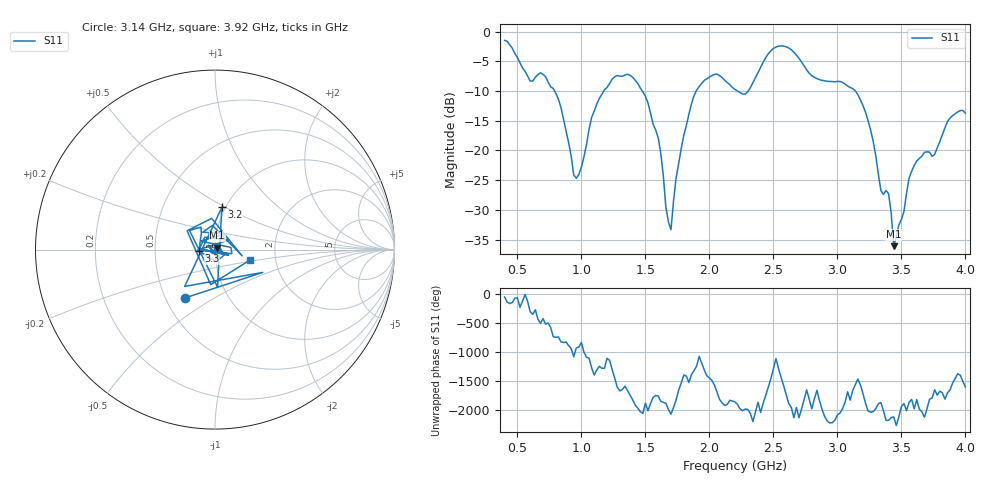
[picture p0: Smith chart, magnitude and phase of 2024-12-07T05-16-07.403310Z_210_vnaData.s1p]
!Created with skrf (http://scikit-rf.org).
# Hz S RI R 50.0
!freq ReS11 ImS11
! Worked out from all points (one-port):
!   181 points, 400 MHz to 4 GHz, reference 50 ohm
!   lowest |S11| = -36.1 dB at 3.44 GHz (marker M1), VSWR 1.03, Z = 51.2 + j1.06 ohm
!   |S11| at or under -10 dB: 791.1 MHz to 1.174 GHz (383.1 MHz wide, 39 % of centre); 1.476 GHz to 1.897 GHz (420.6 MHz wide, 24.9 % of centre); 3.141 GHz to end of sweep (the widest 3 of 4)
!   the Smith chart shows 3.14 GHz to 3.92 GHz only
!   S11 on the Smith chart (normalised r, x): 3.14 GHz: 0.63, -0.38; 3.2 GHz: 0.96, +0.48; 3.3 GHz: 0.84, -0.01; 3.92 GHz: 1.47, -0.18
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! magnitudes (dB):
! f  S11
! 400 MHz  -1.5
! 600 MHz  -8.3
! 720 MHz  -7.6
! 860 MHz  -14.8
! 960 MHz  -24.7
! 1.12 GHz  -12.2
! 1.3 GHz  -7.5
! 1.52 GHz  -12.0
! 1.6 GHz  -17.9
! 1.66 GHz  -29.6
! 1.7 GHz  -33.3
! 1.76 GHz  -22.2
! 1.92 GHz  -9.2
! 2.06 GHz  -7.2
! 2.2 GHz  -9.7
! 2.3 GHz  -10.1
! 2.5 GHz  -2.8
! 2.66 GHz  -3.5
! 3.1 GHz  -9.4
! 3.14 GHz  -10.0
! 3.2 GHz  -12.5
! 3.3 GHz  -20.9
! 3.34 GHz  -26.8
! 3.4 GHz  -27.3
! 3.44 GHz  -36.1
! 3.56 GHz  -24.6
! 3.92 GHz  -13.8
! 4 GHz  -13.7
